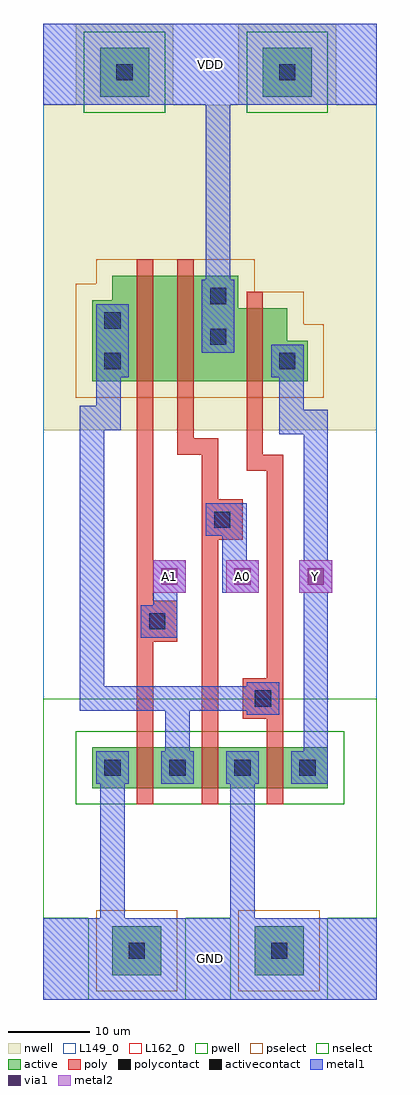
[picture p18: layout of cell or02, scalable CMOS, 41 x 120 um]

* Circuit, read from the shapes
.subckt or02 A0 A1 GND VDD Y
M1 n1 A1 GND GND nfet w=5u l=2u
M2 GND A0 n1 GND nfet w=5u l=2u
M3 Y n1 GND GND nfet w=5u l=2u
M4 n2 A1 n1 VDD pfet w=13u l=2u
M5 VDD A0 n2 VDD pfet w=13u l=2u
M6 Y n1 VDD VDD pfet w=9u l=2u
.ends

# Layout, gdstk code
import gdstk
lib = gdstk.Library(unit=1e-6, precision=1e-09)
def R(c, l, rs):  # rectangles x0, y0, x1, y1
    for r in rs: c.add(gdstk.rectangle(r[:2], r[2:], *l))
def A(c, l, x, y, w, h, nx, ny, dx, dy):  # array of equal rectangles
    R(c, l, [(x+i*dx, y+j*dy, x+i*dx+w, y+j*dy+h) for i in range(nx) for j in range(ny)])
def P(c, l, *ps):  # polygons
    for p in ps: c.add(gdstk.Polygon(p, *l))
pwell = (41, 0)
nwell = (42, 0)
active = (43, 0)
pselect = (44, 0)
nselect = (45, 0)
poly = (46, 0)
polycontact = (47, 0)
activecontact = (48, 0)
metal1 = (49, 0)
via1 = (50, 0)
metal2 = (51, 0)
L149_0 = (149, 0)
L162_0 = (162, 0)

nwell_contact = lib.new_cell('nwell_contact')
R(nwell_contact, nwell, [(-6,-5,6,6)])
R(nwell_contact, active, [(-3,-3,3,3)])
R(nwell_contact, nselect, [(-5,-5,5,5)])
R(nwell_contact, activecontact, [(-1,-1,1,1)])

pwell_contact = lib.new_cell('pwell_contact')
R(pwell_contact, pwell, [(-6,-6,6,5)])
R(pwell_contact, active, [(-3,-3,3,3)])
R(pwell_contact, pselect, [(-5,-5,5,5)])
R(pwell_contact, activecontact, [(-1,-1,1,1)])

via = lib.new_cell('via')
R(via, metal1, [(-2,-2,2,2)])
R(via, via1, [(-1,-1,1,1)])
R(via, metal2, [(-2,-2,2,2)])

or02 = lib.new_cell('or02')
R(or02, pwell, [(0,10,41,20), (0,10,41,37), (0,20,41,37)])
R(or02, nwell, [(0,70,41,110), (0,95,41,110)])
P(or02, nwell, [(38.5,70),(0,70),(0,92),(2.5,92),(2.5,95),(30,95),(30,91),(36,91),(36,87),(38.5,87)])
R(or02, active, [(6,26,35,31)])
P(or02, active, [(32.5,76),(6,76),(6,86),(8.5,86),(8.5,89),(24,89),(24,85),(30,85),(30,81),(32.5,81)])
P(or02, pselect, [(34.5,74),(4,74),(4,88),(6.5,88),(6.5,91),(26,91),(26,87),(32,87),(32,83),(34.5,83)])
R(or02, nselect, [(4,24,37,33)])
A(or02, poly, 11.5, 24, 2, 2, 3, 2, 8, 7)
A(or02, poly, 11.5, 26, 2, 5, 3, 1, 8, 0)
R(or02, poly, [(24.5,34.5,29.5,39.5), (11.5,44,16.5,49), (19.5,56.5,24.5,61.5), (11.5,74,13.5,76), (16.5,74,18.5,76), (25,74,27,76), (11.5,76,13.5,89), (16.5,76,18.5,89), (25,76,27,85), (25,85,27,87), (11.5,89,13.5,91), (16.5,89,18.5,91)])
R(or02, polycontact, [(26,36,28,38), (13,45.5,15,47.5), (21,58,23,60)])
A(or02, activecontact, 7.5, 27.5, 2, 2, 4, 1, 8, 0)
R(or02, activecontact, [(7.5,77.5,9.5,79.5), (29,77.5,31,79.5), (20.5,80.5,22.5,82.5), (7.5,82.5,9.5,84.5), (20.5,85.5,22.5,87.5)])
A(or02, metal1, 6.5, 26.5, 4, 4, 4, 1, 8, 0)
R(or02, metal1, [(0,0,41,10), (0,0,41,10), (25,35,29,39), (12,44.5,16,48.5), (20,57,24,61), (6.5,76.5,10.5,85.5), (28,76.5,32,80.5), (19.5,79.5,23.5,88.5), (0,110,41,120), (0,110,41,120)])
A(or02, metal2, 13.5, 50, 4, 4, 3, 1, 9, 0)
R(or02, L149_0, [(0,0,41,10), (0,0,41,10), (0,0,41,120), (25,35,29,39), (12,44.5,16,48.5), (20,57,24,61), (0,110,41,120), (0,110,41,120)])
A(or02, L162_0, 13.5, 50, 4, 4, 3, 1, 9, 0)
or02.add(gdstk.FlexPath([(8.5,26.5),(8.5,9.5)], 3, ends="flush", simple_path=True, layer=149, datatype=0))  # L149_0
or02.add(gdstk.FlexPath([(18,37),(28.5,37)], 3, ends="flush", simple_path=True, layer=149, datatype=0))  # L149_0
or02.add(gdstk.FlexPath([(24.5,26.5),(24.5,9.5)], 3, ends="flush", simple_path=True, layer=149, datatype=0))  # L149_0
or02.add(gdstk.FlexPath([(15,44.5),(15,54)], 3, ends="flush", simple_path=True, layer=149, datatype=0))  # L149_0
or02.add(gdstk.FlexPath([(30.5,76.5),(30.5,71),(33.5,71),(33.5,26.5)], 3, ends="flush", simple_path=True, layer=149, datatype=0))  # L149_0
or02.add(gdstk.FlexPath([(21.5,88.5),(21.5,110)], 3, ends="flush", simple_path=True, layer=149, datatype=0))  # L149_0
or02.add(gdstk.FlexPath([(8,76.5),(8,71.5),(6,71.5),(6,37),(16.5,37),(16.5,29.5)], 3, ends="flush", simple_path=True, layer=149, datatype=0))  # L149_0
or02.add(gdstk.FlexPath([(23.5,61),(23.5,50)], 3, ends="flush", simple_path=True, layer=149, datatype=0))  # L149_0
or02.add(gdstk.FlexPath([(17.5,74),(17.5,68),(20.5,68),(20.5,33)], 2, ends="flush", simple_path=True, layer=46, datatype=0))  # poly
or02.add(gdstk.FlexPath([(12.5,74),(12.5,33)], 2, ends="flush", simple_path=True, layer=46, datatype=0))  # poly
or02.add(gdstk.FlexPath([(28.5,33),(28.5,66),(26,66),(26,74)], 2, ends="flush", simple_path=True, layer=46, datatype=0))  # poly
or02.add(gdstk.FlexPath([(8.5,26.5),(8.5,9.5)], 3, ends="flush", simple_path=True, layer=49, datatype=0))  # metal1
or02.add(gdstk.FlexPath([(18,37),(28.5,37)], 3, ends="flush", simple_path=True, layer=49, datatype=0))  # metal1
or02.add(gdstk.FlexPath([(24.5,26.5),(24.5,9.5)], 3, ends="flush", simple_path=True, layer=49, datatype=0))  # metal1
or02.add(gdstk.FlexPath([(15,44.5),(15,54)], 3, ends="flush", simple_path=True, layer=49, datatype=0))  # metal1
or02.add(gdstk.FlexPath([(30.5,76.5),(30.5,71),(33.5,71),(33.5,26.5)], 3, ends="flush", simple_path=True, layer=49, datatype=0))  # metal1
or02.add(gdstk.FlexPath([(21.5,88.5),(21.5,110)], 3, ends="flush", simple_path=True, layer=49, datatype=0))  # metal1
or02.add(gdstk.FlexPath([(8,76.5),(8,71.5),(6,71.5),(6,37),(16.5,37),(16.5,29.5)], 3, ends="flush", simple_path=True, layer=49, datatype=0))  # metal1
or02.add(gdstk.FlexPath([(23.5,61),(23.5,50)], 3, ends="flush", simple_path=True, layer=49, datatype=0))  # metal1
or02.add(gdstk.Reference(nwell_contact, (30,114)))
or02.add(gdstk.Reference(nwell_contact, (10,114)))
or02.add(gdstk.Reference(pwell_contact, (11.5,6)))
or02.add(gdstk.Reference(pwell_contact, (29,6)))
or02.add(gdstk.Reference(via, (24.5,52)))
or02.add(gdstk.Reference(via, (33.5,52)))
or02.add(gdstk.Reference(via, (15.5,52)))
or02.add(gdstk.Label('A1', (15.5,52), layer=3, texttype=0))
or02.add(gdstk.Label('A0', (24.5,52), layer=3, texttype=0))
or02.add(gdstk.Label('Y', (33.5,52), layer=3, texttype=0))
or02.add(gdstk.Label('GND', (20.5,5), layer=2, texttype=0))
or02.add(gdstk.Label('VDD', (20.5,115), layer=2, texttype=0))

lib.write_gds('or02.gds')
